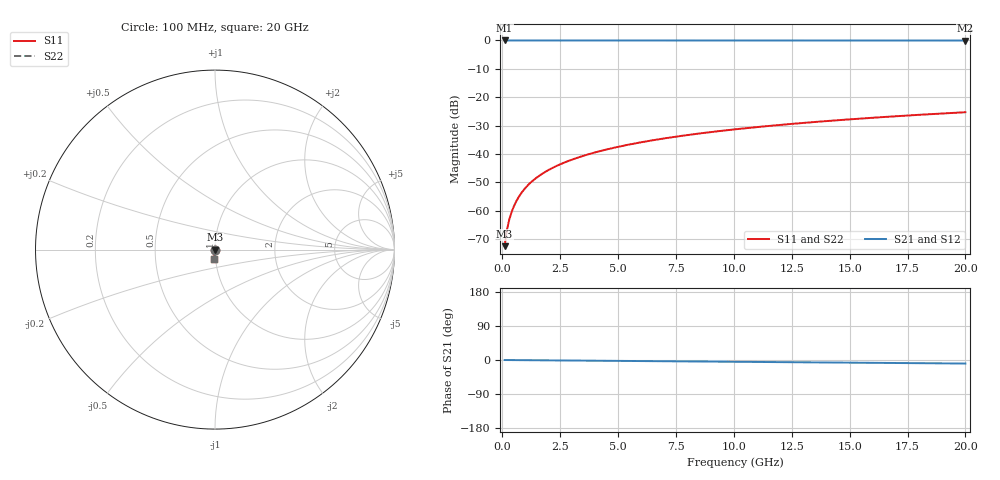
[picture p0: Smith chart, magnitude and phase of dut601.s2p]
! Touchstone file exported from HFSS 2026.1.0
!  File:  C:/ffzhzh/LocalFiles/Ansys_Project_Files/temp_train_TSV_601_1783025483_53980.aedt
!  Generated:  04:52:54 AM Jul  3, 2026
!  Design:  TSV
!  Project:  temp_train_TSV_601_1783025483_53980
! Variables:
!  h_bsmrdl = 2um
!  h_ox = 20um
!  h_rdl = 5um
!  h_sub = 91.83um
!  h_tmrdl = 5um
!  h_tsv = 91.83um
!  h_via = 3um
!  l_bsmrdl = 300um
!  l_sub = 429.3um
!  l_tmrdl = 200um
!  m_sub = 200um
!  pitch = 43.49um
!  r_tsv = 14.65um
!  s_tmrdl = 10um
!  w_bsmrdl = 18um
!  w_sub = 500um
!  w_tmrdl = 12um
!  x_tsv_center1 = 206um
!  x_tsv_center2 = 524um
!  x_tsv_center3 = 736um
!  x_tsv_center4 = 1054um
!  x_tsv_center5 = 1266um
!  x_tsv_center6 = 1584um
# GHz S MA R 50.000000
! Terminal data exported
! Port[1] = TSV1_1_T1
! Port[2] = TSV1_1_T2
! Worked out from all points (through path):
!   200 points, 100 MHz to 20 GHz, reference 50 ohm
!   highest |S21| = 0.00 dB at 100 MHz (marker M1); lowest = 0.0 dB at 20 GHz (marker M2)
!   group delay of S21, straight-line fit = 1.29 ps
!   lowest |S11| = -72.4 dB at 100 MHz (marker M3), VSWR 1.00, Z = 50 - j0.0223 ohm
!   |S11| at or under -10 dB: start of sweep to end of sweep
!   |S22| runs from -72.4 to -25.3 dB; largest |S21 - S12| = 4.1e-15
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0.1  0.0002386 -68.9  0.9999 -0.0  0.9999 -0.0  0.0002386 -68.9
! Gamma 0 0 0 0
! Port Impedance 50 0 50 0
0.2  0.000462 -77.1  0.9999 -0.1  0.9999 -0.1  0.000462 -77.1
0.3  0.0006985 -79.4  0.9999 -0.1  0.9999 -0.1  0.0006985 -79.4
0.4  0.0009452 -80.5  0.9998 -0.2  0.9998 -0.2  0.0009452 -80.5
0.5  0.0012 -81.2  0.9998 -0.2  0.9998 -0.2  0.0012 -81.2
0.7  0.001727 -82.4  0.9998 -0.3  0.9998 -0.3  0.001727 -82.4
0.8  0.001995 -82.9  0.9997 -0.4  0.9997 -0.4  0.001995 -82.9
1  0.002534 -83.8  0.9997 -0.5  0.9997 -0.5  0.002534 -83.8
1.2  0.003076 -84.6  0.9997 -0.6  0.9997 -0.6  0.003076 -84.6
1.4  0.003618 -85.2  0.9996 -0.7  0.9996 -0.7  0.003618 -85.2
1.7  0.00443 -86.0  0.9996 -0.8  0.9996 -0.8  0.00443 -86.0
2  0.005242 -86.6  0.9996 -0.9  0.9996 -0.9  0.005242 -86.6
2.7  0.007135 -87.7  0.9995 -1.3  0.9995 -1.3  0.007135 -87.7
3.5  0.009302 -88.6  0.9995 -1.6  0.9995 -1.6  0.009302 -88.6
4.2  0.0112 -89.2  0.9994 -2.0  0.9994 -2.0  0.0112 -89.2
5  0.01338 -89.8  0.9993 -2.3  0.9993 -2.3  0.01338 -89.8
6.8  0.01831 -91.0  0.9991 -3.2  0.9991 -3.2  0.01831 -91.0
8.3  0.02242 -91.9  0.999 -3.9  0.999 -3.9  0.02242 -91.9
10.1  0.02736 -92.9  0.9988 -4.7  0.9988 -4.7  0.02736 -92.9
13.4  0.03642 -94.7  0.9983 -6.3  0.9983 -6.3  0.03642 -94.7
16.7  0.04547 -96.4  0.9979 -7.8  0.9979 -7.8  0.04547 -96.4
20  0.0545 -98.0  0.9973 -9.3  0.9973 -9.3  0.0545 -98.0
